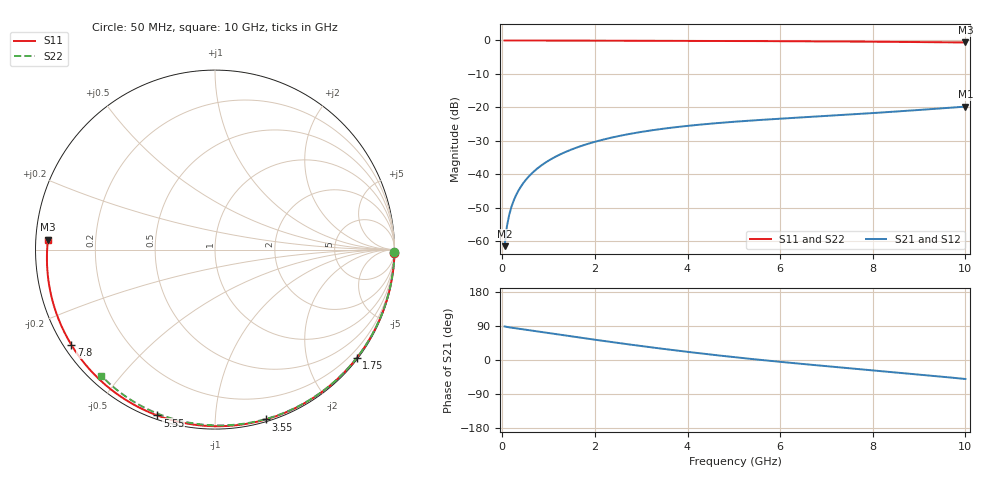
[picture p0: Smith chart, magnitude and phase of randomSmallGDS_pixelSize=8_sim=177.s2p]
! freq	dB(S11)	phase(S11)	dB(S12)	phase(S12)
!  dB(S21)	phase(S21)	dB(S22)	phase(S22)
!S-par simulation data
#  GHz  S  DB  R 50
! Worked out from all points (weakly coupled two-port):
!   200 points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, 50 MHz to 10 GHz, reference 50 ohm
!   highest |S21| = -19.79 dB at 10 GHz (marker M1); lowest = -61.5 dB at 50 MHz (marker M2)
!   lowest |S11| = -0.6 dB at 10 GHz (marker M3), VSWR 28.57, Z = 1.75 + j1.47 ohm
!   |S11| at or under -10 dB: nowhere
!   |S22| runs from -0.5 to 0.0 dB; largest |S21 - S12| = 0
!   S11 on the Smith chart (normalised r, x): 50 MHz: open; 1.75 GHz: 0.03, -2.95; 3.55 GHz: 0.02, -1.34; 5.55 GHz: 0.02, -0.71; 7.8 GHz: 0.02, -0.30; 10 GHz: 0.04, +0.03
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0.05  -0.00 -1.1  -61.52 88.5  -61.52 88.5  -0.00 -0.8
0.1  -0.00 -2.2  -55.56 87.2  -55.56 87.2  -0.00 -1.6
0.15  -0.00 -3.3  -52.11 86.1  -52.11 86.1  -0.00 -2.3
0.2  -0.00 -4.4  -49.66 85.2  -49.66 85.2  -0.00 -3.1
0.25  -0.00 -5.5  -47.75 84.4  -47.75 84.4  -0.00 -3.9
0.35  -0.01 -7.7  -44.88 82.7  -44.88 82.7  -0.00 -5.4
0.5  -0.01 -10.9  -41.83 80.1  -41.83 80.1  -0.01 -7.7
0.7  -0.02 -15.2  -38.95 76.5  -38.95 76.5  -0.01 -10.8
1  -0.03 -21.7  -35.93 71.2  -35.93 71.2  -0.02 -15.4
1.35  -0.04 -29.1  -33.44 64.9  -33.44 64.9  -0.03 -20.7
1.75  -0.05 -37.5  -31.34 57.9  -31.34 57.9  -0.04 -26.7
2.6  -0.08 -54.8  -28.35 43.4  -28.35 43.4  -0.06 -39.2
3.4  -0.10 -70.4  -26.53 30.5  -26.53 30.5  -0.08 -50.6
3.55  -0.11 -73.3  -26.26 28.2  -26.26 28.2  -0.08 -52.8
4.3  -0.13 -87.2  -25.13 17.2  -25.13 17.2  -0.10 -63.1
5.05  -0.17 -100.6  -24.27 7.0  -24.27 7.0  -0.13 -73.1
5.55  -0.19 -109.2  -23.79 0.6  -23.79 0.6  -0.14 -79.6
6.7  -0.26 -128.4  -22.82 -12.9  -22.82 -12.9  -0.20 -93.9
7.8  -0.35 -146.4  -21.89 -25.0  -21.89 -25.0  -0.27 -107.1
8.35  -0.41 -155.4  -21.40 -31.0  -21.40 -31.0  -0.31 -113.4
9.2  -0.50 -169.5  -20.59 -40.6  -20.59 -40.6  -0.39 -123.1
10  -0.61 176.6  -19.79 -50.1  -19.79 -50.1  -0.48 -132.0
